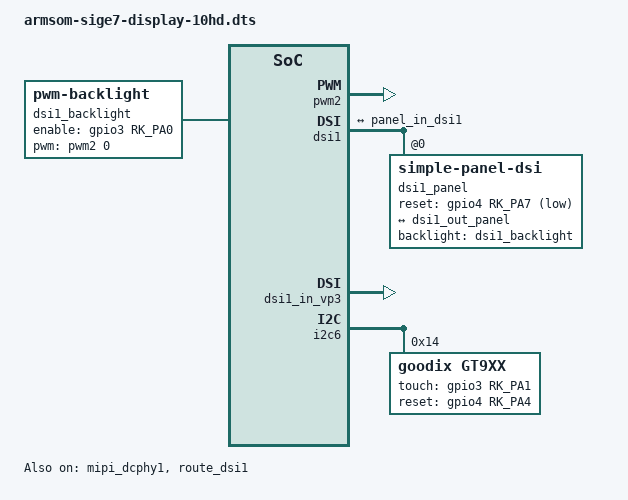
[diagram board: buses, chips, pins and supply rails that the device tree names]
/dts-v1/;
/plugin/;

#include <dt-bindings/interrupt-controller/irq.h>
#include <dt-bindings/gpio/gpio.h>
#include <dt-bindings/pinctrl/rockchip.h>
#include <dt-bindings/display/drm_mipi_dsi.h>

/ {
	fragment@0 {
		target-path = "/";

          __overlay__ {
			dsi1_backlight: dsi1-backlight {
				status = "okay";
				compatible = "pwm-backlight";
				pwms = <&pwm2 0 25000 0>;
				brightness-levels = <
			 		0  20  20  21  21  22  22  23
			 		23  24  24  25  25  26  26  27
			 		27  28  28  29  29  30  30  31
			 		31  32  32  33  33  34  34  35
			 		35  36  36  37  37  38  38  39
			 		40  41  42  43  44  45  46  47
			 		48  49  50  51  52  53  54  55
			 		56  57  58  59  60  61  62  63
			 		64  65  66  67  68  69  70  71
			 		72  73  74  75  76  77  78  79
			 		80  81  82  83  84  85  86  87
			 		88  89  90  91  92  93  94  95
			 		96  97  98  99 100 101 102 103
					104 105 106 107 108 109 110 111
					112 113 114 115 116 117 118 119
					120 121 122 123 124 125 126 127
					128 129 130 131 132 133 134 135
					136 137 138 139 140 141 142 143
					144 145 146 147 148 149 150 151
					152 153 154 155 156 157 158 159
					160 161 162 163 164 165 166 167
					168 169 170 171 172 173 174 175
					176 177 178 179 180 181 182 183
					184 185 186 187 188 189 190 191
					192 193 194 195 196 197 198 199
					200 201 202 203 204 205 206 207
					208 209 210 211 212 213 214 215
					216 217 218 219 220 221 222 223
					224 225 226 227 228 229 230 231
					232 233 234 235 236 237 238 239
					240 241 242 243 244 245 246 247
					248 249 250 251 252 253 254 255
				>;
				default-brightness-level = <200>;
				enable-gpios = <&gpio3 RK_PA0 GPIO_ACTIVE_HIGH>;
				pinctrl-names = "default";
				pinctrl-0 = <&dsi1_backlight_en>;
			};			
		};
	};

	fragment@1 {
		target = <&pwm2>;

		__overlay__ {
			status = "okay";
			pinctrl-names = "active";
			pinctrl-0 = <&pwm2m2_pins>;		
		};
	};

	fragment@2 {
		target = <&dsi1>;

		__overlay__ {
			status = "okay";
			#address-cells = <1>;
			#size-cells = <0>;
			dsi1_panel: panel@0 {
				status = "okay";
				compatible = "simple-panel-dsi";
				reg = <0>;
				
				reset-gpios = <&gpio4 RK_PA7 GPIO_ACTIVE_LOW>;
				backlight = <&dsi1_backlight>;
				pinctrl-names = "default";
				pinctrl-0 = <&dsi1_lcd_rst_gpio>;
				reset-delay-ms = <10>;
				init-delay-ms = <50>;
				enable-delay-ms = <35>;
				prepare-delay-ms = <6>;
				unprepare-delay-ms = <0>;
				disable-delay-ms = <20>;
				
			
				size,width = <68>;
				size,height = <121>;
				
				dsi,flags = <(MIPI_DSI_MODE_VIDEO | MIPI_DSI_MODE_VIDEO_BURST |
					MIPI_DSI_MODE_LPM | MIPI_DSI_MODE_EOT_PACKET)>;
				dsi,format = <MIPI_DSI_FMT_RGB565>;
				dsi,lanes  = <2>;
				panel-init-sequence = [

			              39 00 04 B9 FF 83 99
			              15 00 02 BA 61
			              39 00 10 B1 02 04 74 94 07 32 33 12 12 AB 4D 56 73 02 02		
			              39 00 10 B2 00 80 80 AE 05 07 5A 11 00 00 10 1E 70 03 D4
			              39 00 2D B4 00 FF 02 C0 02 C0 02 C0 00 00 08 00 04 06 00 32 04 0A 08 21 03 01 00 0F B8 8B 02 C0 02 C0 00 00 08 00 04 06 00 32 04 0A 08 01 00 0F B8 01
			              39 05 22 D3 00 00 00 00 00 00 06 00 00 10 04 00 04 00 00 00 00 00 00 00 00 00 00 01 00 05 05 07 00 00 00 05 40		
			              39 05 21 D5 18 18 19 19 18 18 21 20 01 00 07 06 05 04 03 02 18 18 18 18 18 18 2F 2F 30 30 31 31 18 18 18 18		
			              39 05 21 D6 18 18 19 19 40 40 20 21 06 07 00 01 02 03 04 05 40 40 40 40 40 40 2F 2F 30 30 31 31 40 40 40 40				
			              39 00 11 D8 A2 AA 02 A0 A2 A8 02 A0 B0 00 00 00 B0 00 00 00
			              39 00 11 D8 B0 00 00 00 B0 00 00 00 E2 AA 03 F0 E2 AA 03 F0
			              39 00 09 D8 E2 AA 03 F0 E2 AA 03 F0
		                      39 00 03 B6 88 88		
			              15 00 02 35 00	
			              39 05 37 E0 00 17 26 23 55 61 71 6F 78 82 89 8F 94 9D A5 A9 AE B7 BA C2 B6 C2 C3 64 5F 69 77 00 17 26 23 55 61 71 6F 78 82 89 8F 94 9D A5 A9 AE B7 BA C2 B6 C2 C4 64 5F 69 77
			              15 00 02 36 02
			              05 C8 01 11
			              05 C8 01 29		
				];

				panel-exit-sequence = [
				05 78 01 28
			        05 00 01 10
				];

				disp_timings1: display-timings {
					native-mode = <&dsi1_timing0>;
					dsi1_timing0: timing0 {
						clock-frequency = <66660000>;
						hactive = <1080>;
						vactive = <1920>;
						hfront-porch = <20>;
						hsync-len = <10>;
						hback-porch = <30>;
						vfront-porch = <15>;
						vsync-len = <4>;
						vback-porch = <8>;
						
						hsync-active = <0>;
						vsync-active = <0>;
						de-active = <0>;
						pixelclk-active = <0>;
					};
				};
				ports {
					#address-cells = <1>;
					#size-cells = <0>;

					port@0 {
						reg = <0>;
						panel_in_dsi1: endpoint {
							remote-endpoint = <&dsi1_out_panel>;
						};
					};
				};
			};
			ports {
				#address-cells = <1>;
				#size-cells = <0>;

				port@1 {
					reg = <1>;
					dsi1_out_panel: endpoint {
						remote-endpoint = <&panel_in_dsi1>;
					};
				};
			};
		};
	};

	fragment@3 {
		target = <&mipi_dcphy1>;

		__overlay__ {
			status = "okay";
		};
	};


	fragment@4 {
		target = <&route_dsi1>;

		__overlay__ {
			status = "okay";
			connect = <&vp3_out_dsi1>;
		};
	};

	fragment@5 {
		target = <&dsi1_in_vp2>;

		__overlay__ {
			status = "disabled";
		};
	};

	fragment@6 {
		target = <&dsi1_in_vp3>;

		__overlay__ {
			status = "okay";
		
		};
	};

	fragment@7 {
		target = <&i2c6>;

		__overlay__ {
			status = "okay";
			gt9xx: gt9xx@14 {
				status = "okay";
				compatible = "goodix,gt9xx";
				reg = <0x14>;
				pinctrl-names = "default";
				pinctrl-0 = <&gt9xx_gpio>;
				touch-gpio = <&gpio3 RK_PA1 IRQ_TYPE_LEVEL_HIGH>;
				reset-gpio = <&gpio4 RK_PA4 GPIO_ACTIVE_HIGH>;
				max-x = <1080>;
				max-y = <1920>;
				tp-size = <89>;
				configfile-num = <1>;  
			};
		
		};
	};

	fragment@8 {
		target = <&pinctrl>;

		__overlay__ {
		dsi1-lcd {
			
				dsi1_backlight_en: dsi1-backlight-en {
					rockchip,pins =<3 RK_PA0 RK_FUNC_GPIO &pcfg_pull_up>;
				};
			};
			gt9xx {
				gt9xx_gpio: gt9xx-gpio {
					rockchip,pins =
						<4 RK_PA4 RK_FUNC_GPIO &pcfg_pull_none>,
						<3 RK_PA1 RK_FUNC_GPIO &pcfg_pull_up>;
				};
			};
		};
	};
};
